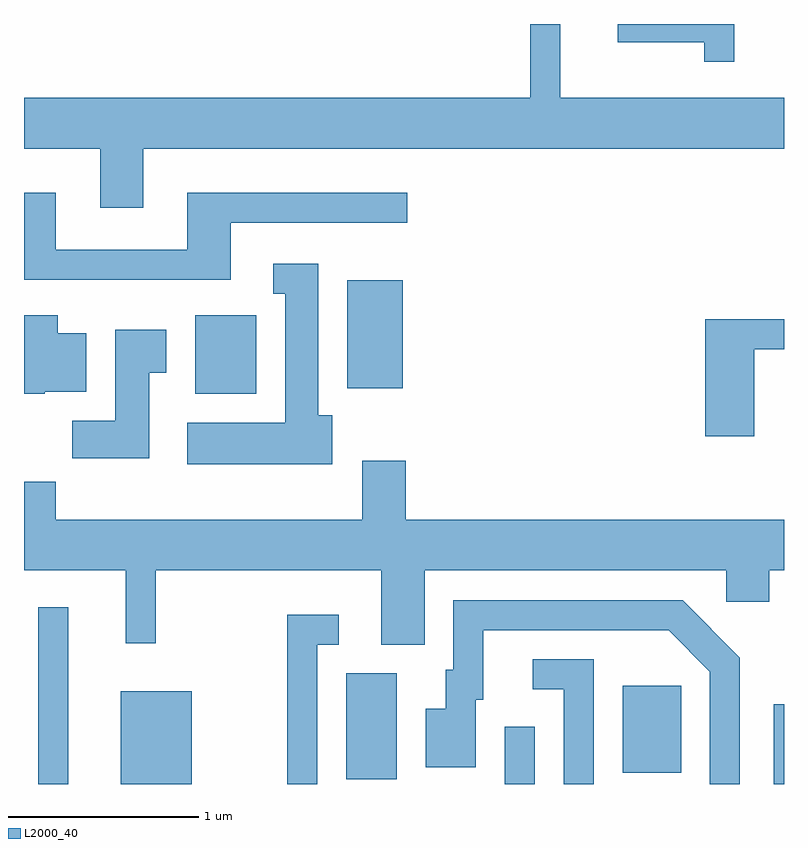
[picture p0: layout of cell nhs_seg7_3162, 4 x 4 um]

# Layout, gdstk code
import gdstk
lib = gdstk.Library(unit=1e-6, precision=1e-09)
def R(c, l, rs):  # rectangles x0, y0, x1, y1
    for r in rs: c.add(gdstk.rectangle(r[:2], r[2:], *l))
def P(c, l, *ps):  # polygons
    for p in ps: c.add(gdstk.Polygon(p, *l))
L2000_40 = (2000, 40)

nhs_seg7_3162 = lib.new_cell('nhs_seg7_3162')
R(nhs_seg7_3162, L2000_40, [(281.686,1764.252,281.844,1765.183), (282.121,1764.252,282.494,1764.739), (284.141,1764.252,284.299,1764.553), (285.556,1764.252,285.611,1764.673), (283.306,1764.276,283.574,1764.834), (284.761,1764.311,285.069,1764.769), (282.511,1766.306,282.834,1766.719), (283.311,1766.336,283.604,1766.904)])
P(nhs_seg7_3162, L2000_40, [(282.239,1767.596),(285.611,1767.596),(285.611,1767.864),(284.434,1767.864),(284.434,1768.252),(284.276,1768.252),(284.276,1767.864),(281.611,1767.864),(281.611,1767.596),(282.011,1767.596),(282.011,1767.286),(282.239,1767.286)],
  [(285.349,1768.252),(284.736,1768.252),(284.736,1768.156),(285.191,1768.156),(285.191,1768.053),(285.349,1768.053)],
  [(282.699,1767.206),(283.628,1767.206),(283.628,1767.364),(282.471,1767.364),(282.471,1767.064),(281.779,1767.064),(281.779,1767.364),(281.611,1767.364),(281.611,1766.906),(282.699,1766.906)],
  [(283.234,1766.194),(283.159,1766.194),(283.159,1766.989),(282.923,1766.989),(282.923,1766.831),(282.986,1766.831),(282.986,1766.154),(282.471,1766.154),(282.471,1765.936),(283.234,1765.936)],
  [(281.72,1766.316),(281.939,1766.316),(281.939,1766.624),(281.789,1766.624),(281.789,1766.719),(281.611,1766.719),(281.611,1766.306),(281.72,1766.306)],
  [(285.454,1766.541),(285.611,1766.541),(285.611,1766.699),(285.196,1766.699),(285.196,1766.081),(285.454,1766.081)],
  [(282.269,1766.416),(282.359,1766.416),(282.359,1766.644),(282.091,1766.644),(282.091,1766.164),(281.866,1766.164),(281.866,1765.966),(282.269,1765.966)],
  [(283.719,1765.376),(285.306,1765.376),(285.306,1765.211),(285.534,1765.211),(285.534,1765.376),(285.611,1765.376),(285.611,1765.644),(283.619,1765.644),(283.619,1765.954),(283.391,1765.954),(283.391,1765.644),(281.779,1765.644),(281.779,1765.844),(281.611,1765.844),(281.611,1765.376),(282.146,1765.376),(282.146,1764.993),(282.304,1764.993),(282.304,1765.376),(283.491,1765.376),(283.491,1764.986),(283.719,1764.986)],
  [(285.379,1764.917),(285.077,1765.219),(283.871,1765.219),(283.871,1764.854),(283.831,1764.854),(283.831,1764.649),(283.726,1764.649),(283.726,1764.341),(283.989,1764.341),(283.989,1764.696),(284.029,1764.696),(284.029,1765.061),(285.004,1765.061),(285.221,1764.844),(285.221,1764.252),(285.379,1764.252)],
  [(283.154,1764.986),(283.268,1764.986),(283.268,1765.144),(282.996,1765.144),(282.996,1764.252),(283.154,1764.252)],
  [(284.609,1764.909),(284.288,1764.909),(284.288,1764.751),(284.451,1764.751),(284.451,1764.252),(284.609,1764.252)])

lib.write_gds('nhs_seg7_3162.gds')
